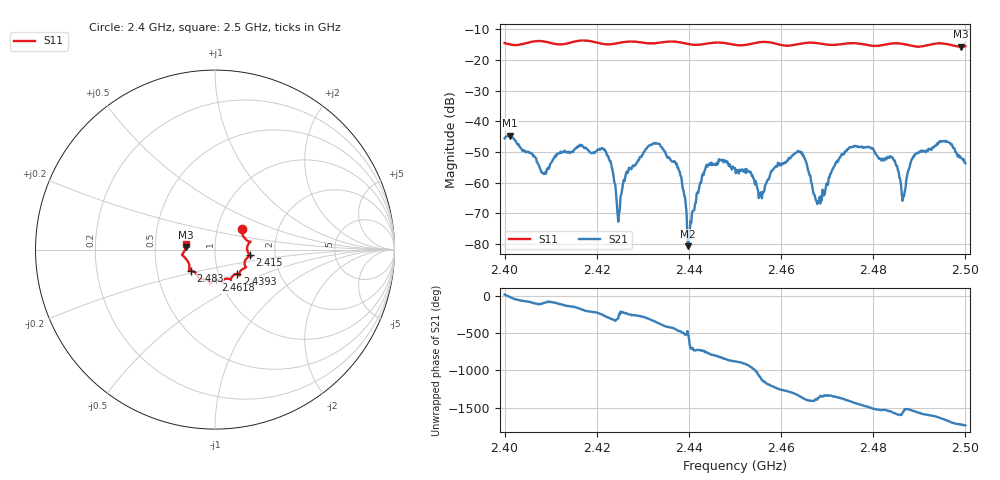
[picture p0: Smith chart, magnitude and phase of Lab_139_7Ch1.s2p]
# Hz S RI R 50
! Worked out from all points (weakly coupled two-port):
!   601 points, 2.4 GHz to 2.5 GHz, reference 50 ohm
!   highest |S21| = -44.66 dB at 2.4012 GHz (marker M1); lowest = -80.7 dB at 2.4398 GHz (marker M2)
!   lowest |S11| = -15.7 dB at 2.499 GHz (marker M3), VSWR 1.39, Z = 35.9 + j1.11 ohm
!   |S11| at or under -10 dB: start of sweep to end of sweep
!   S12 and S22 are empty: the file has one direction only
!   S11 on the Smith chart (normalised r, x): 2.4 GHz: 1.31, +0.31; 2.415 GHz: 1.48, -0.10; 2.4393 GHz: 1.23, -0.35; 2.4618 GHz: 0.95, -0.34; 2.483 GHz: 0.74, -0.18; 2.5 GHz: 0.72, +0.05
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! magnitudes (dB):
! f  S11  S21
! 2.4 GHz  -14.5  -45.6
! 2.4012 GHz  -15.0  -44.7
! 2.4085 GHz  -14.0  -57.2
! 2.415 GHz  -14.1  -49.6
! 2.4167 GHz  -13.7  -47.8
! 2.422 GHz  -14.9  -49.9
! 2.4248 GHz  -14.4  -70.0
! 2.4333 GHz  -14.4  -47.3
! 2.4378 GHz  -14.2  -56.2
! 2.4393 GHz  -14.7  -67.6
! 2.4398 GHz  -14.8  -80.7
! 2.444 GHz  -14.7  -54.8
! 2.45 GHz  -15.1  -55.2
! 2.4557 GHz  -14.2  -63.2
! 2.4618 GHz  -15.3  -52.1
! 2.4667 GHz  -14.4  -60.3
! 2.483 GHz  -14.9  -51.9
! 2.4833 GHz  -14.8  -51.8
! 2.4865 GHz  -14.8  -64.3
! 2.4895 GHz  -15.7  -50.3
! 2.499 GHz  -15.7  -51.8
! 2.5 GHz  -15.6  -53.7
